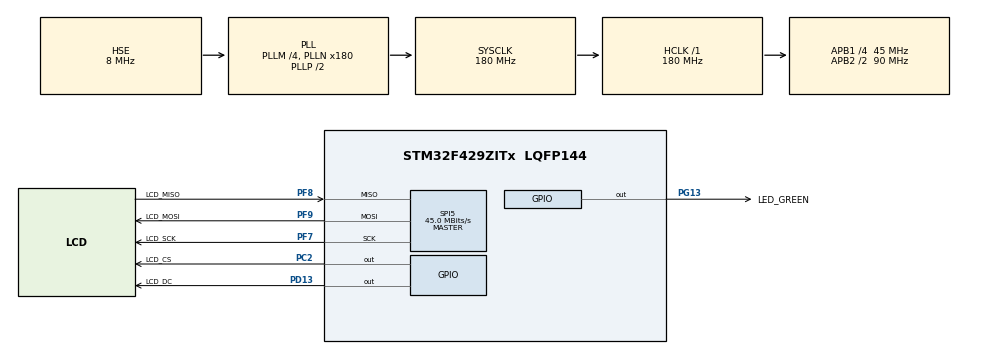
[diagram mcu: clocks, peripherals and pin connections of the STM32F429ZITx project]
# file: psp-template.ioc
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FREERTOS.Tasks01=defaultTask,24,256,RunDefaultTask,Default,NULL,Dynamic,NULL,NULL
FREERTOS.configCHECK_FOR_STACK_OVERFLOW=2
FREERTOS.configENABLE_BACKWARD_COMPATIBILITY=0
FREERTOS.configTIMER_TASK_PRIORITY=16
Mcu.Family=STM32F4
Mcu.Name=STM32F429ZITx
Mcu.Package=LQFP144
NVIC.PriorityGroup=NVIC_PRIORITYGROUP_4
NVIC.TIM1_UP_TIM10_IRQn=true\:0\:0\:false\:false\:true\:false\:false\:true
NVIC.TimeBase=TIM1_UP_TIM10_IRQn
NVIC.TimeBaseIP=TIM1
PA13.Mode=Serial_Wire
PA13.Signal=SYS_JTMS-SWDIO
PA14.Mode=Serial_Wire
PA14.Signal=SYS_JTCK-SWCLK
PC2.GPIO_Label=LCD_CS
PC2.Signal=GPIO_Output
PD13.GPIO_Label=LCD_DC
PD13.Signal=GPIO_Output
PF7.GPIO_Label=LCD_SCK
PF7.Mode=Full_Duplex_Master
PF7.Signal=SPI5_SCK
PF8.GPIO_Label=LCD_MISO
PF8.Mode=Full_Duplex_Master
PF8.Signal=SPI5_MISO
PF9.GPIO_Label=LCD_MOSI
PF9.Mode=Full_Duplex_Master
PF9.Signal=SPI5_MOSI
PG13.GPIO_Label=LED_GREEN
PG13.Signal=GPIO_Output
PH0/OSC_IN.Mode=HSE-External-Oscillator
PH0/OSC_IN.Signal=RCC_OSC_IN
PH1/OSC_OUT.Mode=HSE-External-Oscillator
PH1/OSC_OUT.Signal=RCC_OSC_OUT
ProjectManager.HeapSize=0x200
ProjectManager.StackSize=0x400
ProjectManager.TargetToolchain=STM32CubeIDE
RCC.48MHZClocksFreq_Value=90000000
RCC.AHBFreq_Value=180000000
RCC.APB1CLKDivider=RCC_HCLK_DIV4
RCC.APB1Freq_Value=45000000
RCC.APB1TimFreq_Value=90000000
RCC.APB2CLKDivider=RCC_HCLK_DIV2
RCC.APB2Freq_Value=90000000
RCC.APB2TimFreq_Value=180000000
RCC.CortexFreq_Value=180000000
RCC.HCLKFreq_Value=180000000
RCC.HSE_VALUE=8000000
RCC.HSI_VALUE=16000000
RCC.LSE_VALUE=32768
RCC.PLLM=4
RCC.PLLN=180
RCC.PLLSourceVirtual=RCC_PLLSOURCE_HSE
RCC.SYSCLKFreq_VALUE=180000000
RCC.SYSCLKSource=RCC_SYSCLKSOURCE_PLLCLK
RCC.VCOOutputFreq_Value=360000000
SPI5.CalculateBaudRate=45.0 MBits/s
SPI5.Direction=SPI_DIRECTION_2LINES
SPI5.Mode=SPI_MODE_MASTER
SPI5.VirtualType=VM_MASTER
VP_FREERTOS_VS_CMSIS_V2.Mode=CMSIS_V2
VP_SYS_VS_tim1.Mode=TIM1
board=custom

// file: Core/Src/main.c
/* USER CODE BEGIN Header */
/**
  ******************************************************************************
  * @file           : main.c
  * @brief          : Main program body
  ******************************************************************************
  * @attention
  *
  * <h2><center>&copy; Copyright (c) 2020 STMicroelectronics.
  * All rights reserved.</center></h2>
  *
  * This software component is licensed by ST under BSD 3-Clause license,
  * the "License"; You may not use this file except in compliance with the
  * License. You may obtain a copy of the License at:
  *                        opensource.org/licenses/BSD-3-Clause
  *
  ******************************************************************************
  */
/* USER CODE END Header */

#include "main.h"
#include "cmsis_os.h"

/* USER CODE BEGIN Includes */
#include "lcd.h"
#include "blech/control.h"
/* USER CODE END Includes */

SPI_HandleTypeDef hspi5;

/* Definitions for defaultTask */
osThreadId_t defaultTaskHandle;
const osThreadAttr_t defaultTask_attributes = {
  .name = "defaultTask",
  .priority = (osPriority_t) osPriorityNormal,
  .stack_size = 256 * 4
};
/* USER CODE BEGIN PV */
static blc_bool led_state;
/* USER CODE END PV */

void SystemClock_Config(void);
static void MX_GPIO_Init(void);
static void MX_SPI5_Init(void);
void RunDefaultTask(void *argument);

/* USER CODE BEGIN 0 */

// This hook function is called if a stack overflow is detected.
void vApplicationStackOverflowHook(TaskHandle_t xTask, signed char *pcTaskName)
{
	while(1); // You should always set a break point here to catch stack overflows!
}

/* USER CODE END 0 */

int main(void)
{

  /* MCU Configuration--------------------------------------------------------*/

  /* Reset of all peripherals, Initializes the Flash interface and the Systick. */
  HAL_Init();

  /* Configure the system clock */
  SystemClock_Config();

  /* Initialize all configured peripherals */
  MX_GPIO_Init();
  MX_SPI5_Init();
  /* USER CODE BEGIN 2 */

  // Initialize LCD
  lcd_init();

  // Print some nice text.
  lcd_draw_text_at_line("Synchrone         ", 0, BLACK, 2, WHITE);
  lcd_draw_text_at_line("Programmierung in ", 1, BLACK, 2, WHITE);
  lcd_draw_text_at_line("eingebetteten     ", 2, BLACK, 2, WHITE);
  lcd_draw_text_at_line("Systemen SoSe 2020", 3, BLACK, 2, WHITE);

  lcd_draw_text_at_line("            ", 3, WHITE, 3, BLACK);
  lcd_draw_text_at_line("  TEMPLATE  ", 4, WHITE, 3, BLACK);
  lcd_draw_text_at_line("            ", 5, WHITE, 3, BLACK);

  /* USER CODE END 2 */

  /* Init scheduler */
  osKernelInitialize();

  /* Create the thread(s) */
  /* creation of defaultTask */
  defaultTaskHandle = osThreadNew(RunDefaultTask, NULL, &defaultTask_attributes);

  /* Start scheduler */
  osKernelStart();

  /* We should never get here as control is now taken by the scheduler */
  /* Infinite loop */
  while (1)
  {

  }
}

void SystemClock_Config(void)
{
  RCC_OscInitTypeDef RCC_OscInitStruct = {0};
  RCC_ClkInitTypeDef RCC_ClkInitStruct = {0};

  /** Configure the main internal regulator output voltage
  */
  __HAL_RCC_PWR_CLK_ENABLE();
  __HAL_PWR_VOLTAGESCALING_CONFIG(PWR_REGULATOR_VOLTAGE_SCALE1);
  /** Initializes the CPU, AHB and APB busses clocks
  */
  RCC_OscInitStruct.OscillatorType = RCC_OSCILLATORTYPE_HSE;
  RCC_OscInitStruct.HSEState = RCC_HSE_ON;
  RCC_OscInitStruct.PLL.PLLState = RCC_PLL_ON;
  RCC_OscInitStruct.PLL.PLLSource = RCC_PLLSOURCE_HSE;
  RCC_OscInitStruct.PLL.PLLM = 4;
  RCC_OscInitStruct.PLL.PLLN = 180;
  RCC_OscInitStruct.PLL.PLLP = RCC_PLLP_DIV2;
  RCC_OscInitStruct.PLL.PLLQ = 4;
  if (HAL_RCC_OscConfig(&RCC_OscInitStruct) != HAL_OK)
  {
    Error_Handler();
  }
  /** Activate the Over-Drive mode
  */
  if (HAL_PWREx_EnableOverDrive() != HAL_OK)
  {
    Error_Handler();
  }
  /** Initializes the CPU, AHB and APB busses clocks
  */
  RCC_ClkInitStruct.ClockType = RCC_CLOCKTYPE_HCLK|RCC_CLOCKTYPE_SYSCLK
                              |RCC_CLOCKTYPE_PCLK1|RCC_CLOCKTYPE_PCLK2;
  RCC_ClkInitStruct.SYSCLKSource = RCC_SYSCLKSOURCE_PLLCLK;
  RCC_ClkInitStruct.AHBCLKDivider = RCC_SYSCLK_DIV1;
  RCC_ClkInitStruct.APB1CLKDivider = RCC_HCLK_DIV4;
  RCC_ClkInitStruct.APB2CLKDivider = RCC_HCLK_DIV2;

  if (HAL_RCC_ClockConfig(&RCC_ClkInitStruct, FLASH_LATENCY_5) != HAL_OK)
  {
    Error_Handler();
  }
}

static void MX_SPI5_Init(void)
{

  /* SPI5 parameter configuration*/
  hspi5.Instance = SPI5;
  hspi5.Init.Mode = SPI_MODE_MASTER;
  hspi5.Init.Direction = SPI_DIRECTION_2LINES;
  hspi5.Init.DataSize = SPI_DATASIZE_8BIT;
  hspi5.Init.CLKPolarity = SPI_POLARITY_LOW;
  hspi5.Init.CLKPhase = SPI_PHASE_1EDGE;
  hspi5.Init.NSS = SPI_NSS_SOFT;
  hspi5.Init.BaudRatePrescaler = SPI_BAUDRATEPRESCALER_2;
  hspi5.Init.FirstBit = SPI_FIRSTBIT_MSB;
  hspi5.Init.TIMode = SPI_TIMODE_DISABLE;
  hspi5.Init.CRCCalculation = SPI_CRCCALCULATION_DISABLE;
  hspi5.Init.CRCPolynomial = 10;
  if (HAL_SPI_Init(&hspi5) != HAL_OK)
  {
    Error_Handler();
  }

}

static void MX_GPIO_Init(void)
{
  GPIO_InitTypeDef GPIO_InitStruct = {0};

  /* GPIO Ports Clock Enable */
  __HAL_RCC_GPIOF_CLK_ENABLE();
  __HAL_RCC_GPIOH_CLK_ENABLE();
  __HAL_RCC_GPIOC_CLK_ENABLE();
  __HAL_RCC_GPIOD_CLK_ENABLE();
  __HAL_RCC_GPIOA_CLK_ENABLE();
  __HAL_RCC_GPIOG_CLK_ENABLE();

  /*Configure GPIO pin Output Level */
  HAL_GPIO_WritePin(LCD_CS_GPIO_Port, LCD_CS_Pin, GPIO_PIN_RESET);

  /*Configure GPIO pin Output Level */
  HAL_GPIO_WritePin(LCD_DC_GPIO_Port, LCD_DC_Pin, GPIO_PIN_RESET);

  /*Configure GPIO pin Output Level */
  HAL_GPIO_WritePin(LED_GREEN_GPIO_Port, LED_GREEN_Pin, GPIO_PIN_RESET);

  /*Configure GPIO pin : LCD_CS_Pin */
  GPIO_InitStruct.Pin = LCD_CS_Pin;
  GPIO_InitStruct.Mode = GPIO_MODE_OUTPUT_PP;
  GPIO_InitStruct.Pull = GPIO_NOPULL;
  GPIO_InitStruct.Speed = GPIO_SPEED_FREQ_LOW;
  HAL_GPIO_Init(LCD_CS_GPIO_Port, &GPIO_InitStruct);

  /*Configure GPIO pin : LCD_DC_Pin */
  GPIO_InitStruct.Pin = LCD_DC_Pin;
  GPIO_InitStruct.Mode = GPIO_MODE_OUTPUT_PP;
  GPIO_InitStruct.Pull = GPIO_NOPULL;
  GPIO_InitStruct.Speed = GPIO_SPEED_FREQ_LOW;
  HAL_GPIO_Init(LCD_DC_GPIO_Port, &GPIO_InitStruct);

  /*Configure GPIO pin : LED_GREEN_Pin */
  GPIO_InitStruct.Pin = LED_GREEN_Pin;
  GPIO_InitStruct.Mode = GPIO_MODE_OUTPUT_PP;
  GPIO_InitStruct.Pull = GPIO_NOPULL;
  GPIO_InitStruct.Speed = GPIO_SPEED_FREQ_LOW;
  HAL_GPIO_Init(LED_GREEN_GPIO_Port, &GPIO_InitStruct);

}

void RunDefaultTask(void *argument)
{
  /* USER CODE BEGIN 5 */
	// Blech: Initialize state machine.
	blc_blech_control_init();

	// Blech: Perform boot reaction.
	led_state = HAL_GPIO_ReadPin(LED_GREEN_GPIO_Port, LED_GREEN_Pin);
	blc_blech_control_tick(&led_state);
	HAL_GPIO_WritePin(LED_GREEN_GPIO_Port, LED_GREEN_Pin, (led_state) ? GPIO_PIN_SET : GPIO_PIN_RESET);

	for(;;)
	{
		osDelay(1000);

		// Blech: Perform reaction.
		led_state = HAL_GPIO_ReadPin(LED_GREEN_GPIO_Port, LED_GREEN_Pin);
		blc_blech_control_tick(&led_state);
		HAL_GPIO_WritePin(LED_GREEN_GPIO_Port, LED_GREEN_Pin, (led_state) ? GPIO_PIN_SET : GPIO_PIN_RESET);
	}

  /* USER CODE END 5 */
}

 /**
  * @brief  Period elapsed callback in non blocking mode
  * @note   This function is called  when TIM1 interrupt took place, inside
  * HAL_TIM_IRQHandler(). It makes a direct call to HAL_IncTick() to increment
  * a global variable "uwTick" used as application time base.
  * @param  htim : TIM handle
  * @retval None
  */
void HAL_TIM_PeriodElapsedCallback(TIM_HandleTypeDef *htim)
{
  if (htim->Instance == TIM1) {
    HAL_IncTick();
  }
}

void Error_Handler(void)
{
}

/************************ (C) COPYRIGHT STMicroelectronics *****END OF FILE****/

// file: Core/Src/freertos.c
/* USER CODE BEGIN Header */
/**
  ******************************************************************************
  * File Name          : freertos.c
  * Description        : Code for freertos applications
  ******************************************************************************
  * @attention
  *
  * <h2><center>&copy; Copyright (c) 2020 STMicroelectronics.
  * All rights reserved.</center></h2>
  *
  * This software component is licensed by ST under Ultimate Liberty license
  * SLA0044, the "License"; You may not use this file except in compliance with
  * the License. You may obtain a copy of the License at:
  *                             www.st.com/SLA0044
  *
  ******************************************************************************
  */
/* USER CODE END Header */

#include "FreeRTOS.h"
#include "task.h"
#include "main.h"

/* Hook prototypes */
void vApplicationStackOverflowHook(TaskHandle_t xTask, signed char *pcTaskName);

/* USER CODE BEGIN 4 */
__weak void vApplicationStackOverflowHook(TaskHandle_t xTask, signed char *pcTaskName)
{
   /* Run time stack overflow checking is performed if
   configCHECK_FOR_STACK_OVERFLOW is defined to 1 or 2. This hook function is
   called if a stack overflow is detected. */
}
/* USER CODE END 4 */

/************************ (C) COPYRIGHT STMicroelectronics *****END OF FILE****/
